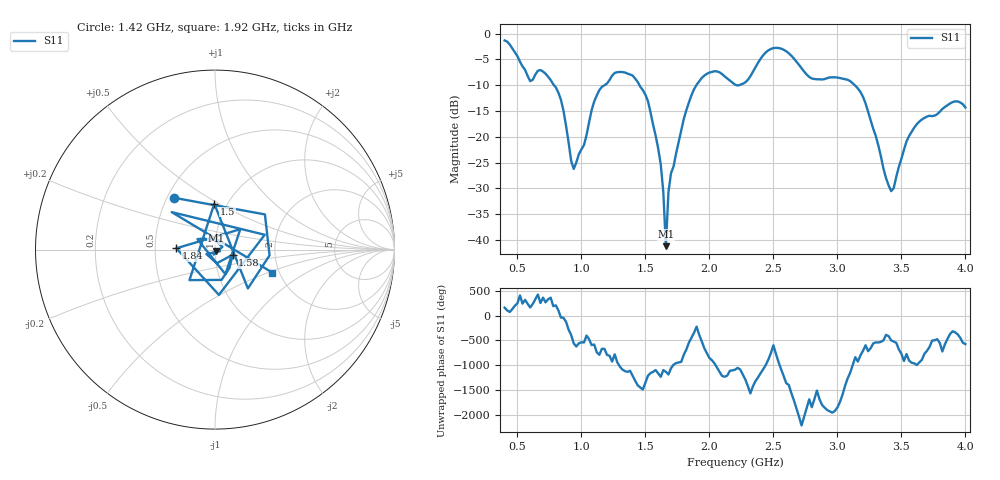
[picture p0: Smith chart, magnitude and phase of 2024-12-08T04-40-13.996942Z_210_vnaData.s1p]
!Created with skrf (http://scikit-rf.org).
# Hz S RI R 50.0
!freq ReS11 ImS11
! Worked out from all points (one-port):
!   181 points, 400 MHz to 4 GHz, reference 50 ohm
!   lowest |S11| = -41.2 dB at 1.66 GHz (marker M1), VSWR 1.02, Z = 50.5 - j0.69 ohm
!   |S11| at or under -10 dB: 786.2 MHz to 1.181 GHz (394.4 MHz wide, 40.1 % of centre); 1.454 GHz to 1.898 GHz (444.4 MHz wide, 26.5 % of centre); 3.136 GHz to end of sweep (the widest 3 of 4)
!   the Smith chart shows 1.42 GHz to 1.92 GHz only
!   S11 on the Smith chart (normalised r, x): 1.42 GHz: 0.55, +0.36; 1.5 GHz: 0.87, +0.48; 1.58 GHz: 1.22, -0.07; 1.84 GHz: 0.65, +0.01; 1.92 GHz: 1.84, -0.54
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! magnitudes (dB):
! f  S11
! 400 MHz  -1.3
! 600 MHz  -9.2
! 740 MHz  -8.4
! 860 MHz  -15.0
! 940 MHz  -26.2
! 1.12 GHz  -12.0
! 1.3 GHz  -7.4
! 1.42 GHz  -8.7
! 1.5 GHz  -11.8
! 1.58 GHz  -19.8
! 1.62 GHz  -25.4
! 1.64 GHz  -30.8
! 1.66 GHz  -41.2
! 1.68 GHz  -30.7
! 1.76 GHz  -21.0
! 1.84 GHz  -13.3
! 1.92 GHz  -9.2
! 2.04 GHz  -7.3
! 2.2 GHz  -9.9
! 2.48 GHz  -3.0
! 2.66 GHz  -4.8
! 2.8 GHz  -8.7
! 3.1 GHz  -9.2
! 3.22 GHz  -13.5
! 3.42 GHz  -30.5
! 3.56 GHz  -19.9
! 3.9 GHz  -13.3
! 4 GHz  -14.3
